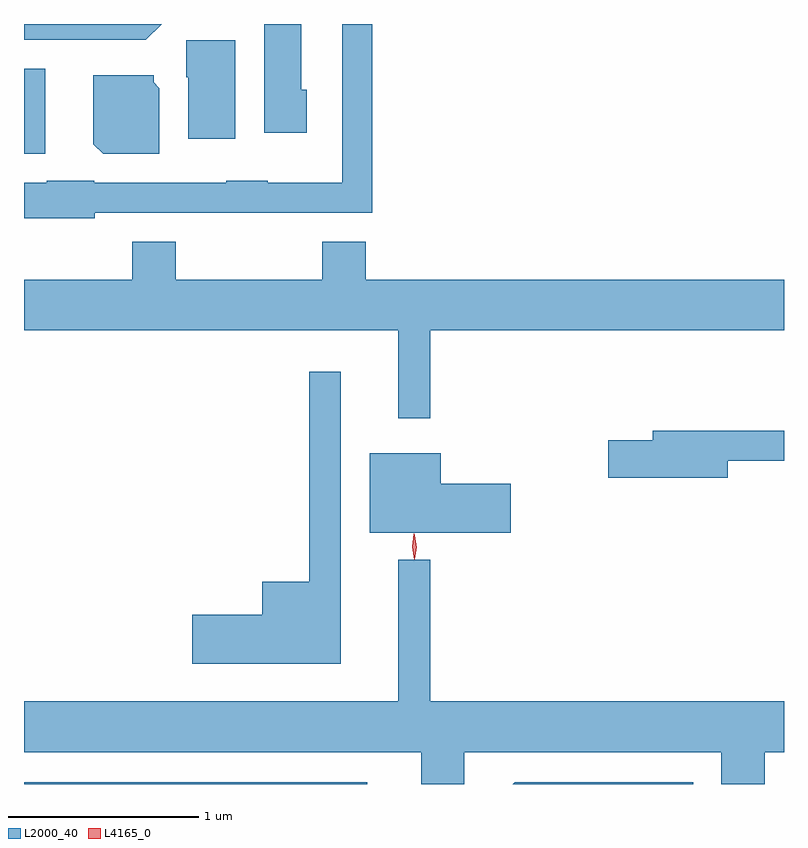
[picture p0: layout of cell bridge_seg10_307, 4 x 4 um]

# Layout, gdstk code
import gdstk
lib = gdstk.Library(unit=1e-6, precision=1e-09)
def R(c, l, rs):  # rectangles x0, y0, x1, y1
    for r in rs: c.add(gdstk.rectangle(r[:2], r[2:], *l))
def P(c, l, *ps):  # polygons
    for p in ps: c.add(gdstk.Polygon(p, *l))
L2000_40 = (2000, 40)
L4165_0 = (4165, 0)

bridge_seg10_307 = lib.new_cell('bridge_seg10_307')
R(bridge_seg10_307, L2000_40, [(1389.531,2189.229,1391.338,2189.239), (1389.531,2192.546,1389.644,2192.994)])
P(bridge_seg10_307, L2000_40, [(1389.904,2192.236),(1391.364,2192.236),(1391.364,2193.229),(1391.206,2193.229),(1391.206,2192.394),(1390.815,2192.394),(1390.815,2192.404),(1390.595,2192.404),(1390.595,2192.394),(1389.9,2192.394),(1389.9,2192.404),(1389.65,2192.404),(1389.65,2192.394),(1389.531,2192.394),(1389.531,2192.206),(1389.904,2192.206)],
  [(1391.019,2192.884),(1390.989,2192.884),(1390.989,2193.229),(1390.796,2193.229),(1390.796,2192.656),(1391.019,2192.656)],
  [(1390.255,2193.229),(1389.531,2193.229),(1389.531,2193.146),(1390.172,2193.146)],
  [(1390.644,2193.144),(1390.386,2193.144),(1390.386,2192.95),(1390.396,2192.95),(1390.396,2192.626),(1390.644,2192.626)],
  [(1390.244,2192.892),(1390.214,2192.922),(1390.214,2192.959),(1389.896,2192.959),(1389.896,2192.597),(1389.947,2192.546),(1390.244,2192.546)],
  [(1391.669,2191.616),(1393.531,2191.616),(1393.531,2191.884),(1391.329,2191.884),(1391.329,2192.084),(1391.101,2192.084),(1391.101,2191.884),(1390.329,2191.884),(1390.329,2192.084),(1390.101,2192.084),(1390.101,2191.884),(1389.531,2191.884),(1389.531,2191.616),(1391.501,2191.616),(1391.501,2191.153),(1391.669,2191.153)],
  [(1391.199,2191.398),(1391.031,2191.398),(1391.031,2190.294),(1390.786,2190.294),(1390.786,2190.119),(1390.416,2190.119),(1390.416,2189.861),(1391.199,2189.861)],
  [(1393.234,2190.931),(1393.531,2190.931),(1393.531,2191.089),(1392.841,2191.089),(1392.841,2191.039),(1392.606,2191.039),(1392.606,2190.841),(1393.234,2190.841)],
  [(1392.094,2190.809),(1391.724,2190.809),(1391.724,2190.969),(1391.351,2190.969),(1391.351,2190.551),(1392.094,2190.551)],
  [(1391.849,2189.396),(1393.201,2189.396),(1393.201,2189.229),(1393.429,2189.229),(1393.429,2189.396),(1393.531,2189.396),(1393.531,2189.664),(1391.669,2189.664),(1391.669,2190.408),(1391.501,2190.408),(1391.501,2189.664),(1389.531,2189.664),(1389.531,2189.396),(1391.621,2189.396),(1391.621,2189.229),(1391.849,2189.229)],
  [(1393.053,2189.239),(1392.114,2189.239),(1392.104,2189.229),(1393.053,2189.229)])
P(bridge_seg10_307, L4165_0, [(1391.584,2190.41),(1391.574,2190.478),(1391.583,2190.546),(1391.584,2190.546),(1391.584,2190.546),(1391.594,2190.478),(1391.586,2190.41),(1391.585,2190.41)],
  [(1391.587,2190.413),(1391.586,2190.414),(1391.577,2190.476),(1391.586,2190.539),(1391.587,2190.54),(1391.588,2190.539),(1391.597,2190.476),(1391.588,2190.414)])

lib.write_gds('bridge_seg10_307.gds')
